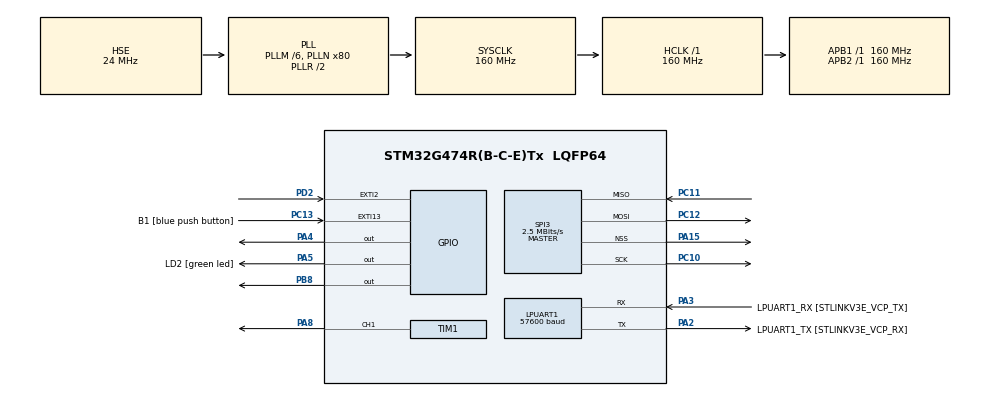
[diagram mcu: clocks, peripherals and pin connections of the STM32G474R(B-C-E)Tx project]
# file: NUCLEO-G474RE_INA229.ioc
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Dma.Request0=TIM1_CH1
Dma.Request1=SPI3_TX
Dma.Request2=SPI3_RX
Dma.SPI3_RX.2.Direction=DMA_PERIPH_TO_MEMORY
Dma.SPI3_RX.2.EventEnable=DISABLE
Dma.SPI3_RX.2.Instance=DMA1_Channel3
Dma.SPI3_RX.2.MemDataAlignment=DMA_MDATAALIGN_BYTE
Dma.SPI3_RX.2.MemInc=DMA_MINC_ENABLE
Dma.SPI3_RX.2.Mode=DMA_NORMAL
Dma.SPI3_RX.2.PeriphDataAlignment=DMA_PDATAALIGN_BYTE
Dma.SPI3_RX.2.PeriphInc=DMA_PINC_DISABLE
Dma.SPI3_RX.2.Polarity=HAL_DMAMUX_REQ_GEN_RISING
Dma.SPI3_RX.2.Priority=DMA_PRIORITY_HIGH
Dma.SPI3_RX.2.RequestNumber=1
Dma.SPI3_RX.2.SignalID=NONE
Dma.SPI3_RX.2.SyncEnable=DISABLE
Dma.SPI3_RX.2.SyncPolarity=HAL_DMAMUX_SYNC_NO_EVENT
Dma.SPI3_RX.2.SyncRequestNumber=1
Dma.SPI3_RX.2.SyncSignalID=NONE
Dma.SPI3_TX.1.Direction=DMA_MEMORY_TO_PERIPH
Dma.SPI3_TX.1.EventEnable=DISABLE
Dma.SPI3_TX.1.Instance=DMA1_Channel2
Dma.SPI3_TX.1.MemDataAlignment=DMA_MDATAALIGN_BYTE
Dma.SPI3_TX.1.MemInc=DMA_MINC_ENABLE
Dma.SPI3_TX.1.Mode=DMA_NORMAL
Dma.SPI3_TX.1.PeriphDataAlignment=DMA_PDATAALIGN_BYTE
Dma.SPI3_TX.1.PeriphInc=DMA_PINC_DISABLE
Dma.SPI3_TX.1.Polarity=HAL_DMAMUX_REQ_GEN_RISING
Dma.SPI3_TX.1.Priority=DMA_PRIORITY_HIGH
Dma.SPI3_TX.1.RequestNumber=1
Dma.SPI3_TX.1.SignalID=NONE
Dma.SPI3_TX.1.SyncEnable=DISABLE
Dma.SPI3_TX.1.SyncPolarity=HAL_DMAMUX_SYNC_NO_EVENT
Dma.SPI3_TX.1.SyncRequestNumber=1
Dma.SPI3_TX.1.SyncSignalID=NONE
Dma.TIM1_CH1.0.Direction=DMA_PERIPH_TO_MEMORY
Dma.TIM1_CH1.0.EventEnable=DISABLE
Dma.TIM1_CH1.0.Instance=DMA1_Channel1
Dma.TIM1_CH1.0.MemDataAlignment=DMA_MDATAALIGN_HALFWORD
Dma.TIM1_CH1.0.MemInc=DMA_MINC_ENABLE
Dma.TIM1_CH1.0.Mode=DMA_CIRCULAR
Dma.TIM1_CH1.0.PeriphDataAlignment=DMA_PDATAALIGN_HALFWORD
Dma.TIM1_CH1.0.PeriphInc=DMA_PINC_DISABLE
Dma.TIM1_CH1.0.Polarity=HAL_DMAMUX_REQ_GEN_RISING
Dma.TIM1_CH1.0.Priority=DMA_PRIORITY_LOW
Dma.TIM1_CH1.0.RequestNumber=1
Dma.TIM1_CH1.0.SignalID=NONE
Dma.TIM1_CH1.0.SyncEnable=DISABLE
Dma.TIM1_CH1.0.SyncPolarity=HAL_DMAMUX_SYNC_NO_EVENT
Dma.TIM1_CH1.0.SyncRequestNumber=1
Dma.TIM1_CH1.0.SyncSignalID=NONE
LPUART1.BaudRate=57600
LPUART1.WordLength=UART_WORDLENGTH_8B
Mcu.Family=STM32G4
Mcu.Name=STM32G474R(B-C-E)Tx
Mcu.Package=LQFP64
NVIC.DMA1_Channel1_IRQn=true\:0\:0\:false\:false\:true\:false\:true\:true
NVIC.DMA1_Channel2_IRQn=true\:0\:0\:false\:false\:true\:false\:true\:true
NVIC.DMA1_Channel3_IRQn=true\:0\:0\:false\:false\:true\:false\:true\:true
NVIC.EXTI15_10_IRQn=true\:0\:0\:false\:false\:true\:true\:true\:true
NVIC.PriorityGroup=NVIC_PRIORITYGROUP_4
PA13.GPIO_Label=T_SWDIO
PA13.Mode=Trace_Asynchronous_SW
PA13.Signal=SYS_JTMS-SWDIO
PA14.GPIO_Label=T_SWCLK
PA14.Mode=Trace_Asynchronous_SW
PA14.Signal=SYS_JTCK-SWCLK
PA15.Mode=NSS_Signal_Hard_Output
PA15.Signal=SPI3_NSS
PA2.GPIO_Label=LPUART1_TX [STLINKV3E_VCP_RX]
PA2.Mode=Asynchronous
PA2.Signal=LPUART1_TX
PA3.GPIO_Label=LPUART1_RX [STLINKV3E_VCP_TX]
PA3.Mode=Asynchronous
PA3.Signal=LPUART1_RX
PA4.Signal=GPIO_Output
PA5.GPIO_Label=LD2 [green led]
PA5.Signal=GPIO_Output
PA8.Signal=S_TIM1_CH1
PB3.GPIO_Label=T_SWO
PB3.Mode=Trace_Asynchronous_SW
PB3.Signal=SYS_JTDO-SWO
PB8-BOOT0.Signal=GPIO_Output
PC10.Mode=Full_Duplex_Master
PC10.Signal=SPI3_SCK
PC11.Mode=Full_Duplex_Master
PC11.Signal=SPI3_MISO
PC12.Mode=Full_Duplex_Master
PC12.Signal=SPI3_MOSI
PC13.GPIO_Label=B1 [blue push button]
PC13.Signal=GPXTI13
PC14-OSC32_IN.Mode=LSE-External-Oscillator
PC14-OSC32_IN.Signal=RCC_OSC32_IN
PC15-OSC32_OUT.Mode=LSE-External-Oscillator
PC15-OSC32_OUT.Signal=RCC_OSC32_OUT
PD2.GPIO_ModeDefaultEXTI=GPIO_MODE_IT_RISING_FALLING
PD2.Signal=GPXTI2
PF0-OSC_IN.Mode=HSE-External-Oscillator
PF0-OSC_IN.Signal=RCC_OSC_IN
PF1-OSC_OUT.Mode=HSE-External-Oscillator
PF1-OSC_OUT.Signal=RCC_OSC_OUT
ProjectManager.HeapSize=0x200
ProjectManager.StackSize=0x400
ProjectManager.TargetToolchain=STM32CubeIDE
RCC.ADC12Freq_Value=160000000
RCC.ADC345Freq_Value=160000000
RCC.AHBFreq_Value=160000000
RCC.APB1Freq_Value=160000000
RCC.APB1TimFreq_Value=160000000
RCC.APB2Freq_Value=160000000
RCC.APB2TimFreq_Value=160000000
RCC.CortexFreq_Value=160000000
RCC.EXTERNAL_CLOCK_VALUE=12288000
RCC.HCLKFreq_Value=160000000
RCC.HSE_VALUE=24000000
RCC.HSI48_VALUE=48000000
RCC.HSI_VALUE=16000000
RCC.PLLM=RCC_PLLM_DIV6
RCC.PLLN=80
RCC.PLLSourceVirtual=RCC_PLLSOURCE_HSE
RCC.RTCClockSelection=RCC_RTCCLKSOURCE_LSE
RCC.SYSCLKFreq_VALUE=160000000
RCC.SYSCLKSource=RCC_SYSCLKSOURCE_PLLCLK
RCC.USBFreq_Value=160000000
RCC.VCOOutputFreq_Value=320000000
SH.S_TIM1_CH1.0=TIM1_CH1,PWM Generation1 CH1
SPI3.BaudRatePrescaler=SPI_BAUDRATEPRESCALER_64
SPI3.CLKPolarity=SPI_POLARITY_HIGH
SPI3.CalculateBaudRate=2.5 MBits/s
SPI3.DataSize=SPI_DATASIZE_8BIT
SPI3.Direction=SPI_DIRECTION_2LINES
SPI3.Mode=SPI_MODE_MASTER
SPI3.NSSPMode=SPI_NSS_PULSE_DISABLE
SPI3.VirtualNSS=VM_NSSHARD
SPI3.VirtualType=VM_MASTER
TIM1.Channel-PWM\ Generation1\ CH1=TIM_CHANNEL_1
TIM1.PeriodNoDither=1000-1
TIM1.Prescaler=16-1
VP_SYS_VS_DBSignals.Mode=DisableDeadBatterySignals
board=NUCLEO-G474RE

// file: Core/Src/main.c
/* USER CODE BEGIN Header */
/**
 ******************************************************************************
 * @file           : main.c
 * @brief          : Main program body
 ******************************************************************************
 * @attention
 *
 * Copyright (c) 2022 STMicroelectronics.
 * All rights reserved.
 *
 * This software is licensed under terms that can be found in the LICENSE file
 * in the root directory of this software component.
 * If no LICENSE file comes with this software, it is provided AS-IS.
 *
 ******************************************************************************
 */
/* USER CODE END Header */
#include "main.h"

/* USER CODE BEGIN Includes */

#include "ina229.h"
#include <stdio.h>

/* USER CODE END Includes */

 UART_HandleTypeDef hlpuart1;

SPI_HandleTypeDef hspi3;
DMA_HandleTypeDef hdma_spi3_tx;
DMA_HandleTypeDef hdma_spi3_rx;

TIM_HandleTypeDef htim1;
DMA_HandleTypeDef hdma_tim1_ch1;

/* USER CODE BEGIN PV */

/* Buffer used for transmission */
uint8_t aTxBuffer[21];

/* Buffer used for reception */
uint8_t aRxBuffer[21];

// for 0V - 160V variable output PWM
volatile uint16_t duty_cycle = 50;

// push button
uint8_t button_pressed = 0;

/* USER CODE END PV */

void SystemClock_Config(void);
static void MX_GPIO_Init(void);
static void MX_LPUART1_UART_Init(void);
static void MX_DMA_Init(void);
static void MX_SPI3_Init(void);
static void MX_TIM1_Init(void);
/* USER CODE BEGIN PFP */

#define PUTCHAR_PROTOTYPE int __io_putchar(int ch)

/* USER CODE END PFP */

int main(void)
{

  /* MCU Configuration--------------------------------------------------------*/

  /* Reset of all peripherals, Initializes the Flash interface and the Systick. */
  HAL_Init();

  /* Configure the system clock */
  SystemClock_Config();

  /* Initialize all configured peripherals */
  MX_GPIO_Init();
  MX_LPUART1_UART_Init();
  MX_DMA_Init();
  MX_SPI3_Init();
  MX_TIM1_Init();
  /* USER CODE BEGIN 2 */

  printf("Starting >> NUCLEO-G474RE_INA229 \n");

	// Opto duty cycle by DMA
	duty_cycle = 100; // div by 10
	if (HAL_TIM_PWM_Start_DMA(&htim1, TIM_CHANNEL_1, (uint32_t *) &duty_cycle, 1) != HAL_OK)
	{
		/* PWM Generation Error */
		while(1)
		{
			HAL_Delay(100);
			HAL_GPIO_TogglePin(GPIOA, GPIO_PIN_5);
		}
	}

	//	aTxBuffer[0] = INA229_REG_MANUFACTURER_ID;
	//	aTxBuffer[0] = (INA229_REG_MANUFACTURER_ID << 2) + 1;
	//	aTxBuffer[1] = 0;
	//	aTxBuffer[2] = 0;
	//	aTxBuffer[3] = 0;
	//	aTxBuffer[4] = (INA229_REG_DEVICE_ID << 2) + 1;
	//	aTxBuffer[5] = 0;
	//	aTxBuffer[6] = 0;
	//	aTxBuffer[7] = 0;
	//	aTxBuffer[8] = (INA229_REG_POWER << 2) + 1;
	//	aTxBuffer[9] = 0;
	//	aTxBuffer[10] = 0;
	//	aTxBuffer[11] = 0;

	aTxBuffer[0]  = (INA229_REG_MANUFACTURER_ID << 2) + 1;
	aTxBuffer[1]  = 0;
	aTxBuffer[2]  = 0;
	aTxBuffer[3]  = (INA229_REG_DIAG_ALRT << 2) + 0;
	aTxBuffer[4]  = 0x40; // bit 14, 1h = Enables conversion ready flag on ALERT pin
	aTxBuffer[5]  = 0;
	//	aTxBuffer[6]  = (INA229_REG_DIAG_ALRT << 2) + 0;
	//	aTxBuffer[7]  = 0x40; // bit 14, 1h = Enables conversion ready flag on ALERT pin
	//	aTxBuffer[8]  = 0;
	//	aTxBuffer[9]  = (INA229_REG_DIAG_ALRT << 2) + 0;
	//	aTxBuffer[10] = 0x40; // bit 14, 1h = Enables conversion ready flag on ALERT pin
	//	aTxBuffer[11] = 0;
	//	aTxBuffer[12] = (INA229_REG_DIAG_ALRT << 2) + 1;
	//	aTxBuffer[13] = 0;
	//	aTxBuffer[14] = 0;
	//	aTxBuffer[15] = (INA229_REG_ADC_CONFIG << 2) + 1;
	//	aTxBuffer[16] = 0;
	//	aTxBuffer[17] = 0;
	//	aTxBuffer[18] = (INA229_REG_MANUFACTURER_ID << 2) + 1;
	//	aTxBuffer[19] = 0;
	//	aTxBuffer[20] = 0;

	//	/* Wait for User push-button press before starting the Communication */
	//	while (!button_pressed)
	//	{
	//		HAL_GPIO_TogglePin(GPIOA, GPIO_PIN_5);
	//		HAL_Delay(100);
	//	}
	//	button_pressed = 0; // reset button variable so can be used again

	/*##-1- Start the Full Duplex Communication process ########################*/
	/* While the SPI in TransmitReceive process, user can transmit data through
	 "aTxBuffer" buffer & receive data through "aRxBuffer" */
	/* Timeout is set to 5S */

	switch (HAL_SPI_TransmitReceive_DMA(&hspi3, (uint8_t*) aTxBuffer, (uint8_t*) aRxBuffer, 6)) {
	case HAL_OK:
		/* Communication is completed ___________________________________________ */
		HAL_GPIO_WritePin(GPIOA, GPIO_PIN_5, SET);
		HAL_Delay(500);
		HAL_GPIO_WritePin(GPIOA, GPIO_PIN_5, RESET);
		break;

	case HAL_TIMEOUT:
		/* An Error Occur ______________________________________________________ */
		HAL_GPIO_WritePin(GPIOA, GPIO_PIN_5, SET);
		HAL_Delay(500);
		HAL_GPIO_WritePin(GPIOA, GPIO_PIN_5, RESET);
	case HAL_ERROR:
		/* Call Timeout Handler */
		Error_Handler();
		break;
	default:
		break;
	}

	HAL_Delay(5);

  /* USER CODE END 2 */

  /* Infinite loop */
  /* USER CODE BEGIN WHILE */
	while (1) {
		HAL_GPIO_TogglePin(GPIOA, GPIO_PIN_5);
		HAL_Delay(20);
    /* USER CODE END WHILE */

	}
}

void SystemClock_Config(void)
{
  RCC_OscInitTypeDef RCC_OscInitStruct = {0};
  RCC_ClkInitTypeDef RCC_ClkInitStruct = {0};

  /** Configure the main internal regulator output voltage
  */
  HAL_PWREx_ControlVoltageScaling(PWR_REGULATOR_VOLTAGE_SCALE1_BOOST);

  /** Initializes the RCC Oscillators according to the specified parameters
  * in the RCC_OscInitTypeDef structure.
  */
  RCC_OscInitStruct.OscillatorType = RCC_OSCILLATORTYPE_HSE;
  RCC_OscInitStruct.HSEState = RCC_HSE_ON;
  RCC_OscInitStruct.PLL.PLLState = RCC_PLL_ON;
  RCC_OscInitStruct.PLL.PLLSource = RCC_PLLSOURCE_HSE;
  RCC_OscInitStruct.PLL.PLLM = RCC_PLLM_DIV6;
  RCC_OscInitStruct.PLL.PLLN = 80;
  RCC_OscInitStruct.PLL.PLLP = RCC_PLLP_DIV2;
  RCC_OscInitStruct.PLL.PLLQ = RCC_PLLQ_DIV2;
  RCC_OscInitStruct.PLL.PLLR = RCC_PLLR_DIV2;
  if (HAL_RCC_OscConfig(&RCC_OscInitStruct) != HAL_OK)
  {
    Error_Handler();
  }

  /** Initializes the CPU, AHB and APB buses clocks
  */
  RCC_ClkInitStruct.ClockType = RCC_CLOCKTYPE_HCLK|RCC_CLOCKTYPE_SYSCLK
                              |RCC_CLOCKTYPE_PCLK1|RCC_CLOCKTYPE_PCLK2;
  RCC_ClkInitStruct.SYSCLKSource = RCC_SYSCLKSOURCE_PLLCLK;
  RCC_ClkInitStruct.AHBCLKDivider = RCC_SYSCLK_DIV1;
  RCC_ClkInitStruct.APB1CLKDivider = RCC_HCLK_DIV1;
  RCC_ClkInitStruct.APB2CLKDivider = RCC_HCLK_DIV1;

  if (HAL_RCC_ClockConfig(&RCC_ClkInitStruct, FLASH_LATENCY_4) != HAL_OK)
  {
    Error_Handler();
  }
}

static void MX_LPUART1_UART_Init(void)
{

  hlpuart1.Instance = LPUART1;
  hlpuart1.Init.BaudRate = 57600;
  hlpuart1.Init.WordLength = UART_WORDLENGTH_8B;
  hlpuart1.Init.StopBits = UART_STOPBITS_1;
  hlpuart1.Init.Parity = UART_PARITY_NONE;
  hlpuart1.Init.Mode = UART_MODE_TX_RX;
  hlpuart1.Init.HwFlowCtl = UART_HWCONTROL_NONE;
  hlpuart1.Init.OneBitSampling = UART_ONE_BIT_SAMPLE_DISABLE;
  hlpuart1.Init.ClockPrescaler = UART_PRESCALER_DIV1;
  hlpuart1.AdvancedInit.AdvFeatureInit = UART_ADVFEATURE_NO_INIT;
  if (HAL_UART_Init(&hlpuart1) != HAL_OK)
  {
    Error_Handler();
  }
  if (HAL_UARTEx_SetTxFifoThreshold(&hlpuart1, UART_TXFIFO_THRESHOLD_1_8) != HAL_OK)
  {
    Error_Handler();
  }
  if (HAL_UARTEx_SetRxFifoThreshold(&hlpuart1, UART_RXFIFO_THRESHOLD_1_8) != HAL_OK)
  {
    Error_Handler();
  }
  if (HAL_UARTEx_DisableFifoMode(&hlpuart1) != HAL_OK)
  {
    Error_Handler();
  }

}

static void MX_SPI3_Init(void)
{

  /* SPI3 parameter configuration*/
  hspi3.Instance = SPI3;
  hspi3.Init.Mode = SPI_MODE_MASTER;
  hspi3.Init.Direction = SPI_DIRECTION_2LINES;
  hspi3.Init.DataSize = SPI_DATASIZE_8BIT;
  hspi3.Init.CLKPolarity = SPI_POLARITY_HIGH;
  hspi3.Init.CLKPhase = SPI_PHASE_1EDGE;
  hspi3.Init.NSS = SPI_NSS_HARD_OUTPUT;
  hspi3.Init.BaudRatePrescaler = SPI_BAUDRATEPRESCALER_64;
  hspi3.Init.FirstBit = SPI_FIRSTBIT_MSB;
  hspi3.Init.TIMode = SPI_TIMODE_DISABLE;
  hspi3.Init.CRCCalculation = SPI_CRCCALCULATION_DISABLE;
  hspi3.Init.CRCPolynomial = 7;
  hspi3.Init.CRCLength = SPI_CRC_LENGTH_DATASIZE;
  hspi3.Init.NSSPMode = SPI_NSS_PULSE_DISABLE;
  if (HAL_SPI_Init(&hspi3) != HAL_OK)
  {
    Error_Handler();
  }

}

static void MX_TIM1_Init(void)
{

  TIM_MasterConfigTypeDef sMasterConfig = {0};
  TIM_OC_InitTypeDef sConfigOC = {0};
  TIM_BreakDeadTimeConfigTypeDef sBreakDeadTimeConfig = {0};

  htim1.Instance = TIM1;
  htim1.Init.Prescaler = 16-1;
  htim1.Init.CounterMode = TIM_COUNTERMODE_UP;
  htim1.Init.Period = 999;
  htim1.Init.ClockDivision = TIM_CLOCKDIVISION_DIV1;
  htim1.Init.RepetitionCounter = 0;
  htim1.Init.AutoReloadPreload = TIM_AUTORELOAD_PRELOAD_DISABLE;
  if (HAL_TIM_PWM_Init(&htim1) != HAL_OK)
  {
    Error_Handler();
  }
  sMasterConfig.MasterOutputTrigger = TIM_TRGO_RESET;
  sMasterConfig.MasterOutputTrigger2 = TIM_TRGO2_RESET;
  sMasterConfig.MasterSlaveMode = TIM_MASTERSLAVEMODE_DISABLE;
  if (HAL_TIMEx_MasterConfigSynchronization(&htim1, &sMasterConfig) != HAL_OK)
  {
    Error_Handler();
  }
  sConfigOC.OCMode = TIM_OCMODE_PWM1;
  sConfigOC.Pulse = 0;
  sConfigOC.OCPolarity = TIM_OCPOLARITY_HIGH;
  sConfigOC.OCNPolarity = TIM_OCNPOLARITY_HIGH;
  sConfigOC.OCFastMode = TIM_OCFAST_DISABLE;
  sConfigOC.OCIdleState = TIM_OCIDLESTATE_RESET;
  sConfigOC.OCNIdleState = TIM_OCNIDLESTATE_RESET;
  if (HAL_TIM_PWM_ConfigChannel(&htim1, &sConfigOC, TIM_CHANNEL_1) != HAL_OK)
  {
    Error_Handler();
  }
  sBreakDeadTimeConfig.OffStateRunMode = TIM_OSSR_DISABLE;
  sBreakDeadTimeConfig.OffStateIDLEMode = TIM_OSSI_DISABLE;
  sBreakDeadTimeConfig.LockLevel = TIM_LOCKLEVEL_OFF;
  sBreakDeadTimeConfig.DeadTime = 0;
  sBreakDeadTimeConfig.BreakState = TIM_BREAK_DISABLE;
  sBreakDeadTimeConfig.BreakPolarity = TIM_BREAKPOLARITY_HIGH;
  sBreakDeadTimeConfig.BreakFilter = 0;
  sBreakDeadTimeConfig.BreakAFMode = TIM_BREAK_AFMODE_INPUT;
  sBreakDeadTimeConfig.Break2State = TIM_BREAK2_DISABLE;
  sBreakDeadTimeConfig.Break2Polarity = TIM_BREAK2POLARITY_HIGH;
  sBreakDeadTimeConfig.Break2Filter = 0;
  sBreakDeadTimeConfig.Break2AFMode = TIM_BREAK_AFMODE_INPUT;
  sBreakDeadTimeConfig.AutomaticOutput = TIM_AUTOMATICOUTPUT_DISABLE;
  if (HAL_TIMEx_ConfigBreakDeadTime(&htim1, &sBreakDeadTimeConfig) != HAL_OK)
  {
    Error_Handler();
  }
  HAL_TIM_MspPostInit(&htim1);

}

static void MX_DMA_Init(void)
{

  /* DMA controller clock enable */
  __HAL_RCC_DMAMUX1_CLK_ENABLE();
  __HAL_RCC_DMA1_CLK_ENABLE();

  /* DMA interrupt init */
  /* DMA1_Channel1_IRQn interrupt configuration */
  HAL_NVIC_SetPriority(DMA1_Channel1_IRQn, 0, 0);
  HAL_NVIC_EnableIRQ(DMA1_Channel1_IRQn);
  /* DMA1_Channel2_IRQn interrupt configuration */
  HAL_NVIC_SetPriority(DMA1_Channel2_IRQn, 0, 0);
  HAL_NVIC_EnableIRQ(DMA1_Channel2_IRQn);
  /* DMA1_Channel3_IRQn interrupt configuration */
  HAL_NVIC_SetPriority(DMA1_Channel3_IRQn, 0, 0);
  HAL_NVIC_EnableIRQ(DMA1_Channel3_IRQn);

}

static void MX_GPIO_Init(void)
{
  GPIO_InitTypeDef GPIO_InitStruct = {0};

  /* GPIO Ports Clock Enable */
  __HAL_RCC_GPIOC_CLK_ENABLE();
  __HAL_RCC_GPIOF_CLK_ENABLE();
  __HAL_RCC_GPIOA_CLK_ENABLE();
  __HAL_RCC_GPIOD_CLK_ENABLE();
  __HAL_RCC_GPIOB_CLK_ENABLE();

  /*Configure GPIO pin Output Level */
  HAL_GPIO_WritePin(GPIOA, GPIO_PIN_4|LD2_Pin, GPIO_PIN_RESET);

  /*Configure GPIO pin Output Level */
  HAL_GPIO_WritePin(GPIOB, GPIO_PIN_8, GPIO_PIN_RESET);

  /*Configure GPIO pin : B1_Pin */
  GPIO_InitStruct.Pin = B1_Pin;
  GPIO_InitStruct.Mode = GPIO_MODE_IT_RISING;
  GPIO_InitStruct.Pull = GPIO_NOPULL;
  HAL_GPIO_Init(B1_GPIO_Port, &GPIO_InitStruct);

  /*Configure GPIO pins : PA4 LD2_Pin */
  GPIO_InitStruct.Pin = GPIO_PIN_4|LD2_Pin;
  GPIO_InitStruct.Mode = GPIO_MODE_OUTPUT_PP;
  GPIO_InitStruct.Pull = GPIO_NOPULL;
  GPIO_InitStruct.Speed = GPIO_SPEED_FREQ_LOW;
  HAL_GPIO_Init(GPIOA, &GPIO_InitStruct);

  /*Configure GPIO pin : PD2 */
  GPIO_InitStruct.Pin = GPIO_PIN_2;
  GPIO_InitStruct.Mode = GPIO_MODE_IT_RISING_FALLING;
  GPIO_InitStruct.Pull = GPIO_NOPULL;
  HAL_GPIO_Init(GPIOD, &GPIO_InitStruct);

  /*Configure GPIO pin : PB8 */
  GPIO_InitStruct.Pin = GPIO_PIN_8;
  GPIO_InitStruct.Mode = GPIO_MODE_OUTPUT_PP;
  GPIO_InitStruct.Pull = GPIO_NOPULL;
  GPIO_InitStruct.Speed = GPIO_SPEED_FREQ_LOW;
  HAL_GPIO_Init(GPIOB, &GPIO_InitStruct);

  /* EXTI interrupt init*/
  HAL_NVIC_SetPriority(EXTI15_10_IRQn, 0, 0);
  HAL_NVIC_EnableIRQ(EXTI15_10_IRQn);

}

/* USER CODE BEGIN 4 */

void HAL_GPIO_EXTI_Callback(uint16_t GPIO_Pin)
{
	/* Prevent unused argument(s) compilation warning */
	UNUSED(GPIO_Pin);

	/* NOTE: This function should not be modified, when the callback is needed,
           the HAL_GPIO_EXTI_Callback could be implemented in the user file
	 */

	button_pressed = 1;

	HAL_GPIO_TogglePin(GPIOB, GPIO_PIN_8);

	aTxBuffer[0] = (INA229_REG_DIAG_ALRT << 2) + 1;
	aTxBuffer[1] = 0;
	aTxBuffer[2] = 0;

	switch (HAL_SPI_TransmitReceive_DMA(&hspi3, (uint8_t*) aTxBuffer, (uint8_t*) aRxBuffer, 3)) {
	case HAL_OK:
		/* Communication is completed ___________________________________________ */
		HAL_GPIO_WritePin(GPIOA, GPIO_PIN_5, SET);
//		HAL_Delay(500);
		HAL_GPIO_WritePin(GPIOA, GPIO_PIN_5, RESET);
		break;

	case HAL_TIMEOUT:
		/* An Error Occur ______________________________________________________ */
		HAL_GPIO_WritePin(GPIOA, GPIO_PIN_5, SET);
//		HAL_Delay(500);
		HAL_GPIO_WritePin(GPIOA, GPIO_PIN_5, RESET);
	case HAL_ERROR:
		/* Call Timeout Handler */
		Error_Handler();
		break;
	default:
		break;
	}

}

void HAL_SPI_RxCpltCallback(SPI_HandleTypeDef *hspi)
{
  /* Prevent unused argument(s) compilation warning */
  UNUSED(hspi);

  /* NOTE : This function should not be modified, when the callback is needed,
            the HAL_SPI_RxCpltCallback should be implemented in the user file
   */

  printf("HAL_SPI_RxCpltCallback \n");

}

void HAL_SPI_TxRxCpltCallback(SPI_HandleTypeDef *hspi)
{
  /* Prevent unused argument(s) compilation warning */
  UNUSED(hspi);

  /* NOTE : This function should not be modified, when the callback is needed,
            the HAL_SPI_RxCpltCallback should be implemented in the user file
   */

  printf("HAL_SPI_TxRxCpltCallback \n");

}

void HAL_SPI_RxHalfCpltCallback(SPI_HandleTypeDef *hspi)
{
  /* Prevent unused argument(s) compilation warning */
  UNUSED(hspi);

  /* NOTE : This function should not be modified, when the callback is needed,
            the HAL_SPI_RxCpltCallback should be implemented in the user file
   */

  printf("HAL_SPI_RxHalfCpltCallback \n");

}

PUTCHAR_PROTOTYPE {
	/* Place your implementation of fputc here */
	/* e.g. write a character to the LPUART1 and Loop until the end of transmission */
	HAL_UART_Transmit(&hlpuart1, (uint8_t*) &ch, 1, 0xFFFF);
//	HAL_UART_Transmit_DMA(&hlpuart1, (uint8_t*) &ch, 1);

	return ch;
}

/* USER CODE END 4 */

void Error_Handler(void)
{
  /* USER CODE BEGIN Error_Handler_Debug */
	/* User can add his own implementation to report the HAL error return state */
	__disable_irq();
	HAL_GPIO_WritePin(GPIOA, GPIO_PIN_5, SET);
	while (1) {
	}
  /* USER CODE END Error_Handler_Debug */
}
